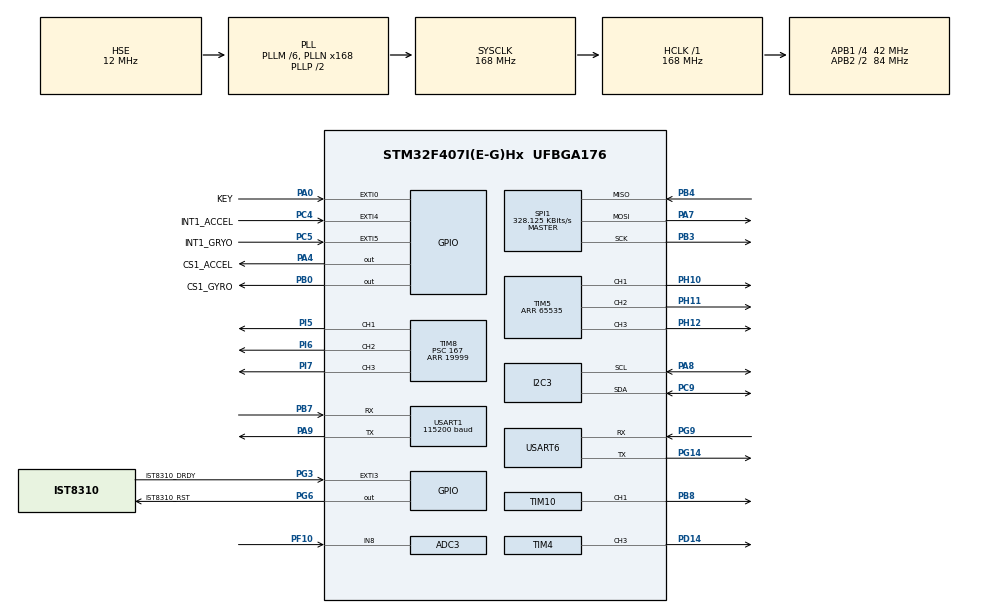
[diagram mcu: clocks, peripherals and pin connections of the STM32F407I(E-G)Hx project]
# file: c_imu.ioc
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ADC1.Channel-0\#ChannelRegularConversion=ADC_CHANNEL_VREFINT
ADC1.NbrOfConversionFlag=1
ADC1.Rank-0\#ChannelRegularConversion=1
ADC1.SamplingTime-0\#ChannelRegularConversion=ADC_SAMPLETIME_3CYCLES
ADC1.master=1
ADC3.Channel-0\#ChannelRegularConversion=ADC_CHANNEL_8
ADC3.NbrOfConversionFlag=1
ADC3.Rank-0\#ChannelRegularConversion=1
ADC3.SamplingTime-0\#ChannelRegularConversion=ADC_SAMPLETIME_3CYCLES
Dma.Request0=USART1_TX
Dma.Request1=USART1_RX
Dma.Request2=SPI1_RX
Dma.Request3=SPI1_TX
Dma.SPI1_RX.2.Direction=DMA_PERIPH_TO_MEMORY
Dma.SPI1_RX.2.FIFOMode=DMA_FIFOMODE_DISABLE
Dma.SPI1_RX.2.Instance=DMA2_Stream2
Dma.SPI1_RX.2.MemDataAlignment=DMA_MDATAALIGN_BYTE
Dma.SPI1_RX.2.MemInc=DMA_MINC_ENABLE
Dma.SPI1_RX.2.Mode=DMA_NORMAL
Dma.SPI1_RX.2.PeriphDataAlignment=DMA_PDATAALIGN_BYTE
Dma.SPI1_RX.2.PeriphInc=DMA_PINC_DISABLE
Dma.SPI1_RX.2.Priority=DMA_PRIORITY_VERY_HIGH
Dma.SPI1_TX.3.Direction=DMA_MEMORY_TO_PERIPH
Dma.SPI1_TX.3.FIFOMode=DMA_FIFOMODE_DISABLE
Dma.SPI1_TX.3.Instance=DMA2_Stream3
Dma.SPI1_TX.3.MemDataAlignment=DMA_MDATAALIGN_BYTE
Dma.SPI1_TX.3.MemInc=DMA_MINC_ENABLE
Dma.SPI1_TX.3.Mode=DMA_NORMAL
Dma.SPI1_TX.3.PeriphDataAlignment=DMA_PDATAALIGN_BYTE
Dma.SPI1_TX.3.PeriphInc=DMA_PINC_DISABLE
Dma.SPI1_TX.3.Priority=DMA_PRIORITY_HIGH
Dma.USART1_RX.1.Direction=DMA_PERIPH_TO_MEMORY
Dma.USART1_RX.1.FIFOMode=DMA_FIFOMODE_DISABLE
Dma.USART1_RX.1.Instance=DMA2_Stream5
Dma.USART1_RX.1.MemDataAlignment=DMA_MDATAALIGN_BYTE
Dma.USART1_RX.1.MemInc=DMA_MINC_ENABLE
Dma.USART1_RX.1.Mode=DMA_NORMAL
Dma.USART1_RX.1.PeriphDataAlignment=DMA_PDATAALIGN_BYTE
Dma.USART1_RX.1.PeriphInc=DMA_PINC_DISABLE
Dma.USART1_RX.1.Priority=DMA_PRIORITY_VERY_HIGH
Dma.USART1_TX.0.Direction=DMA_MEMORY_TO_PERIPH
Dma.USART1_TX.0.FIFOMode=DMA_FIFOMODE_DISABLE
Dma.USART1_TX.0.Instance=DMA2_Stream7
Dma.USART1_TX.0.MemDataAlignment=DMA_MDATAALIGN_BYTE
Dma.USART1_TX.0.MemInc=DMA_MINC_ENABLE
Dma.USART1_TX.0.Mode=DMA_NORMAL
Dma.USART1_TX.0.PeriphDataAlignment=DMA_PDATAALIGN_BYTE
Dma.USART1_TX.0.PeriphInc=DMA_PINC_DISABLE
Dma.USART1_TX.0.Priority=DMA_PRIORITY_VERY_HIGH
I2C3.I2C_Mode=I2C_Fast
Mcu.Family=STM32F4
Mcu.Name=STM32F407I(E-G)Hx
Mcu.Package=UFBGA176
NVIC.DMA2_Stream2_IRQn=true\:0\:0\:false\:false\:true\:false\:true
NVIC.DMA2_Stream3_IRQn=true\:0\:0\:false\:false\:true\:false\:true
NVIC.DMA2_Stream5_IRQn=true\:0\:0\:false\:false\:true\:false\:true
NVIC.DMA2_Stream7_IRQn=true\:0\:0\:false\:false\:true\:false\:true
NVIC.EXTI0_IRQn=true\:0\:0\:false\:false\:true\:true\:true
NVIC.EXTI3_IRQn=true\:0\:0\:false\:false\:true\:true\:true
NVIC.EXTI4_IRQn=true\:0\:0\:false\:false\:true\:true\:true
NVIC.EXTI9_5_IRQn=true\:0\:0\:false\:false\:true\:true\:true
NVIC.PriorityGroup=NVIC_PRIORITYGROUP_4
NVIC.TIM1_UP_TIM10_IRQn=true\:0\:0\:false\:false\:true\:true\:true
NVIC.USART1_IRQn=true\:0\:0\:false\:false\:true\:true\:true
NVIC.USART6_IRQn=true\:0\:0\:false\:false\:true\:true\:true
PA0-WKUP.GPIO_Label=KEY
PA0-WKUP.GPIO_ModeDefaultEXTI=GPIO_MODE_IT_RISING_FALLING
PA0-WKUP.GPIO_PuPd=GPIO_PULLUP
PA0-WKUP.Signal=GPXTI0
PA13.Mode=Serial_Wire
PA13.Signal=SYS_JTMS-SWDIO
PA14.Mode=Serial_Wire
PA14.Signal=SYS_JTCK-SWCLK
PA4.GPIO_Label=CS1_ACCEL
PA4.GPIO_PuPd=GPIO_PULLUP
PA4.GPIO_Speed=GPIO_SPEED_FREQ_HIGH
PA4.PinState=GPIO_PIN_SET
PA4.Signal=GPIO_Output
PA7.Mode=Full_Duplex_Master
PA7.Signal=SPI1_MOSI
PA8.Mode=I2C
PA8.Signal=I2C3_SCL
PA9.Mode=Asynchronous
PA9.Signal=USART1_TX
PB0.GPIO_Label=CS1_GYRO
PB0.GPIO_PuPd=GPIO_PULLUP
PB0.GPIO_Speed=GPIO_SPEED_FREQ_HIGH
PB0.PinState=GPIO_PIN_SET
PB0.Signal=GPIO_Output
PB3.Mode=Full_Duplex_Master
PB3.Signal=SPI1_SCK
PB4.Mode=Full_Duplex_Master
PB4.Signal=SPI1_MISO
PB7.Mode=Asynchronous
PB7.Signal=USART1_RX
PB8.Signal=S_TIM10_CH1
PC4.GPIO_Label=INT1_ACCEL
PC4.GPIO_ModeDefaultEXTI=GPIO_MODE_IT_FALLING
PC4.GPIO_PuPd=GPIO_PULLUP
PC4.Signal=GPXTI4
PC5.GPIO_Label=INT1_GRYO
PC5.GPIO_ModeDefaultEXTI=GPIO_MODE_IT_FALLING
PC5.GPIO_PuPd=GPIO_PULLUP
PC5.Signal=GPXTI5
PC9.Mode=I2C
PC9.Signal=I2C3_SDA
PD14.Signal=S_TIM4_CH3
PF10.Mode=IN8
PF10.Signal=ADC3_IN8
PG14.Mode=Asynchronous
PG14.Signal=USART6_TX
PG3.GPIO_Label=IST8310_DRDY
PG3.GPIO_ModeDefaultEXTI=GPIO_MODE_IT_FALLING
PG3.GPIO_PuPd=GPIO_PULLUP
PG3.Signal=GPXTI3
PG6.GPIO_Label=IST8310_RST
PG6.GPIO_PuPd=GPIO_PULLUP
PG6.GPIO_Speed=GPIO_SPEED_FREQ_MEDIUM
PG6.PinState=GPIO_PIN_SET
PG6.Signal=GPIO_Output
PG9.Mode=Asynchronous
PG9.Signal=USART6_RX
PH0-OSC_IN.Mode=HSE-External-Oscillator
PH0-OSC_IN.Signal=RCC_OSC_IN
PH1-OSC_OUT.Mode=HSE-External-Oscillator
PH1-OSC_OUT.Signal=RCC_OSC_OUT
PH10.Signal=S_TIM5_CH1
PH11.Signal=S_TIM5_CH2
PH12.Signal=S_TIM5_CH3
PI5.Signal=S_TIM8_CH1
PI6.Signal=S_TIM8_CH2
PI7.Signal=S_TIM8_CH3
ProjectManager.HeapSize=0x200
ProjectManager.StackSize=0x400
ProjectManager.TargetToolchain=MDK-ARM V5
RCC.48MHZClocksFreq_Value=84000000
RCC.AHBFreq_Value=168000000
RCC.APB1CLKDivider=RCC_HCLK_DIV4
RCC.APB1Freq_Value=42000000
RCC.APB1TimFreq_Value=84000000
RCC.APB2CLKDivider=RCC_HCLK_DIV2
RCC.APB2Freq_Value=84000000
RCC.APB2TimFreq_Value=168000000
RCC.CortexFreq_Value=168000000
RCC.HCLKFreq_Value=168000000
RCC.HSE_VALUE=12000000
RCC.HSI_VALUE=16000000
RCC.LSE_VALUE=32768
RCC.PLLM=6
RCC.PLLN=168
RCC.PLLSourceVirtual=RCC_PLLSOURCE_HSE
RCC.SYSCLKFreq_VALUE=168000000
RCC.SYSCLKSource=RCC_SYSCLKSOURCE_PLLCLK
RCC.VCOOutputFreq_Value=336000000
SH.S_TIM10_CH1.0=TIM10_CH1,PWM Generation1 CH1
SH.S_TIM4_CH3.0=TIM4_CH3,PWM Generation3 CH3
SH.S_TIM5_CH1.0=TIM5_CH1,PWM Generation1 CH1
SH.S_TIM5_CH2.0=TIM5_CH2,PWM Generation2 CH2
SH.S_TIM5_CH3.0=TIM5_CH3,PWM Generation3 CH3
SH.S_TIM8_CH1.0=TIM8_CH1,PWM Generation1 CH1
SH.S_TIM8_CH2.0=TIM8_CH2,PWM Generation2 CH2
SH.S_TIM8_CH3.0=TIM8_CH3,PWM Generation3 CH3
SPI1.BaudRatePrescaler=SPI_BAUDRATEPRESCALER_256
SPI1.CLKPhase=SPI_PHASE_2EDGE
SPI1.CLKPolarity=SPI_POLARITY_HIGH
SPI1.CalculateBaudRate=328.125 KBits/s
SPI1.Direction=SPI_DIRECTION_2LINES
SPI1.Mode=SPI_MODE_MASTER
SPI1.VirtualType=VM_MASTER
TIM1.Period=99
TIM1.Prescaler=1679
TIM1.RepetitionCounter=0
TIM10.Channel=TIM_CHANNEL_1
TIM10.Period=4999
TIM4.Channel-PWM\ Generation3\ CH3=TIM_CHANNEL_3
TIM4.Period=20999
TIM5.Channel-PWM\ Generation1\ CH1=TIM_CHANNEL_1
TIM5.Channel-PWM\ Generation2\ CH2=TIM_CHANNEL_2
TIM5.Channel-PWM\ Generation3\ CH3=TIM_CHANNEL_3
TIM5.Period=65535
TIM8.Channel-PWM\ Generation1\ CH1=TIM_CHANNEL_1
TIM8.Channel-PWM\ Generation2\ CH2=TIM_CHANNEL_2
TIM8.Channel-PWM\ Generation3\ CH3=TIM_CHANNEL_3
TIM8.Period=19999
TIM8.Prescaler=167
TIM8.Pulse-PWM\ Generation1\ CH1=2000
TIM8.Pulse-PWM\ Generation2\ CH2=2000
TIM8.Pulse-PWM\ Generation3\ CH3=2000
USART1.BaudRate=115200
USART1.VirtualMode=VM_ASYNC
USART6.VirtualMode=VM_ASYNC
VP_ADC1_TempSens_Input.Mode=IN-TempSens
VP_ADC1_Vref_Input.Mode=IN-Vrefint
VP_TIM10_VS_ClockSourceINT.Mode=Enable_Timer
VP_TIM1_VS_ClockSourceINT.Mode=Internal
VP_TIM4_VS_ClockSourceINT.Mode=Internal
VP_TIM5_VS_ClockSourceINT.Mode=Internal
VP_TIM8_VS_ClockSourceINT.Mode=Internal
board=custom

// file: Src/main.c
/* USER CODE BEGIN Header */
/**
  ******************************************************************************
  * @file           : main.c
  * @brief          : Main program body
  ******************************************************************************
  * @attention
  *
  * <h2><center>&copy; Copyright (c) 2023 STMicroelectronics.
  * All rights reserved.</center></h2>
  *
  * This software component is licensed by ST under BSD 3-Clause license,
  * the "License"; You may not use this file except in compliance with the
  * License. You may obtain a copy of the License at:
  *                        opensource.org/licenses/BSD-3-Clause
  *
  ******************************************************************************
  */
/* USER CODE END Header */
#include "main.h"
#include "adc.h"
#include "dma.h"
#include "i2c.h"
#include "spi.h"
#include "tim.h"
#include "usart.h"
#include "gpio.h"

/* USER CODE BEGIN Includes */
#include <stdio.h>
#include <string.h>

#include "base/bsp/bsp_led.h"
#include "base/bsp/bsp_adc.h"

#include "base/imu/driver/ist8310driver.h"
#include "base/imu/driver/BMI088driver.h"
/* USER CODE END Includes */

void SystemClock_Config(void);

/* USER CODE BEGIN 0 */
BoardLed led;
Board_Monitor board_monitor;

fp32 mag[3];
fp32 gyro[3], accel[3], temp;

long time = 0;
long mag_cnt = 0;
float mag_freq = 0;
long accel_int_cnt = 0;
float accel_int_freq = 0;
long gyro_int_cnt = 0;
float gyro_int_freq = 0;

uint8_t sumcheck(uint8_t* buf, uint8_t len);
struct sensor_data_t {
  float x;
  float y;
  float z;
}__attribute__((packed));

struct imu_raw_t{
  uint8_t sign;
  sensor_data_t acc;
  sensor_data_t gyro;
  //float temp;
  uint8_t check;
}__attribute__((packed));

imu_raw_t txdata;
size_t data_size = sizeof(txdata);

uint8_t tx_freq_cnt = 0;
float tx_freq = 0.f;
float lt = 0;
float nt = 0;
float dt;
float avg_dt = 0;
void HAL_GPIO_EXTI_Callback(uint16_t GPIO_Pin)
{
    if(GPIO_Pin == IST8310_DRDY_Pin)
    {
      mag_cnt++;

			static long ltm = 0;
			long ntm = time;
			if (ntm - ltm >= 1000) {
				mag_freq = (float) mag_cnt / (ntm - ltm) * 1000.0f;
				mag_cnt = 0;
				ltm = ntm;
			}
      ist8310_read_mag(mag);
    }

    if (GPIO_Pin == INT1_GRYO_Pin) {
      static long ltg = 0;
      long ntg = time;

      gyro_int_cnt++;

      if (ntg - ltg >= 1000) {
        gyro_int_freq = (float)gyro_int_cnt / (float)(ntg - ltg) * 1000.f;
        gyro_int_cnt = 0;
        ltg = ntg;
      }
    }

    if (GPIO_Pin == INT1_ACCEL_Pin) {
      static long lta = 0;
      long nta = time;

      accel_int_cnt++;

      if (nta - lta >= 1000) {
        accel_int_freq = (float)accel_int_cnt / (float)(nta - lta) * 1000.f;
        accel_int_cnt = 0;
        lta = nta;
      }
			BMI088_read(gyro, accel, &temp);
			memcpy(&txdata.acc, accel, 12);
			memcpy(&txdata.gyro, gyro, 12);
			//txdata.temp = temp;
			static int tx_cnt = 0;
			tx_cnt++;
			if (tx_cnt % 2 == 0) {
				txdata.check = sumcheck((uint8_t*)&txdata, sizeof(txdata) - 2);
				HAL_UART_Transmit_DMA(&huart1, (uint8_t*) &txdata, sizeof(txdata));
				tx_cnt = 0;
				tx_freq_cnt ++;
				nt = time;
				dt += nt - lt;
				lt = nt;
			}
		}

}
uint8_t init_bmi088 = 0;

/* USER CODE END 0 */

int main(void)
{

  /* MCU Configuration--------------------------------------------------------*/

  /* Reset of all peripherals, Initializes the Flash interface and the Systick. */
  HAL_Init();

  /* Configure the system clock */
  SystemClock_Config();

  /* Initialize all configured peripherals */
  MX_GPIO_Init();
  MX_DMA_Init();
  MX_TIM1_Init();
  MX_TIM4_Init();
  MX_TIM8_Init();
  MX_ADC1_Init();
  MX_ADC3_Init();
  MX_TIM5_Init();
  MX_USART1_UART_Init();
  MX_USART6_UART_Init();
  MX_I2C3_Init();
  MX_SPI1_Init();
  MX_TIM10_Init();
  /* USER CODE BEGIN 2 */
	HAL_TIM_Base_Start_IT(&htim1);
  HAL_TIM_Base_Start(&htim4);
  HAL_TIM_Base_Start(&htim5);
  HAL_TIM_Base_Start(&htim8);

  HAL_TIM_PWM_Start(&htim4, TIM_CHANNEL_1);

  HAL_TIM_PWM_Start(&htim8, TIM_CHANNEL_1);
  HAL_TIM_PWM_Start(&htim8, TIM_CHANNEL_2);
  HAL_TIM_PWM_Start(&htim8, TIM_CHANNEL_3);

		//__HAL_UART_ENABLE_IT(&huart1, UART_IT_RXNE);  //receive interrupt

    //__HAL_UART_ENABLE_IT(&huart1, UART_IT_TC);  //idle interrupt
    __HAL_UART_ENABLE_IT(&huart1, UART_IT_IDLE);  //idle interrupt
    //__HAL_UART_ENABLE_IT(&huart6, UART_IT_RXNE);  //receive interrupt
    __HAL_UART_ENABLE_IT(&huart6, UART_IT_IDLE);  //idle interrupt

	txdata.sign = 0X23;
  led.init();
	led.setColor(0xFF, 0xFF, 0xff);

	led.setColor(0x00, 0x00, 0xff);
  led.setModeBreath(1000);

  ist8310_init();
	board_monitor.init_vrefint_reciprocal();
	HAL_Delay(1000);

	while (!init_bmi088) {
		init_bmi088 = BMI088_init();
	}

  led.setColor(0x00, 0xff, 0x00);
	led.setModeBlink(1, 100, 300);

  /* USER CODE END 2 */

  /* Infinite loop */
  /* USER CODE BEGIN WHILE */
		uint8_t data[4] = {0x73, 0x74, 0x75, 0x76};

  while (1)
  {
//				HAL_UART_Transmit(&huart1, data, 4, 100);
//        HAL_Delay(100);
//        HAL_UART_Transmit(&huart6, data, 4, 100);
//        HAL_Delay(100);

    /* USER CODE END WHILE */

  }
}

void SystemClock_Config(void)
{
  RCC_OscInitTypeDef RCC_OscInitStruct = {0};
  RCC_ClkInitTypeDef RCC_ClkInitStruct = {0};

  /** Configure the main internal regulator output voltage
  */
  __HAL_RCC_PWR_CLK_ENABLE();
  __HAL_PWR_VOLTAGESCALING_CONFIG(PWR_REGULATOR_VOLTAGE_SCALE1);
  /** Initializes the RCC Oscillators according to the specified parameters
  * in the RCC_OscInitTypeDef structure.
  */
  RCC_OscInitStruct.OscillatorType = RCC_OSCILLATORTYPE_HSE;
  RCC_OscInitStruct.HSEState = RCC_HSE_ON;
  RCC_OscInitStruct.PLL.PLLState = RCC_PLL_ON;
  RCC_OscInitStruct.PLL.PLLSource = RCC_PLLSOURCE_HSE;
  RCC_OscInitStruct.PLL.PLLM = 6;
  RCC_OscInitStruct.PLL.PLLN = 168;
  RCC_OscInitStruct.PLL.PLLP = RCC_PLLP_DIV2;
  RCC_OscInitStruct.PLL.PLLQ = 4;
  if (HAL_RCC_OscConfig(&RCC_OscInitStruct) != HAL_OK)
  {
    Error_Handler();
  }
  /** Initializes the CPU, AHB and APB buses clocks
  */
  RCC_ClkInitStruct.ClockType = RCC_CLOCKTYPE_HCLK|RCC_CLOCKTYPE_SYSCLK
                              |RCC_CLOCKTYPE_PCLK1|RCC_CLOCKTYPE_PCLK2;
  RCC_ClkInitStruct.SYSCLKSource = RCC_SYSCLKSOURCE_PLLCLK;
  RCC_ClkInitStruct.AHBCLKDivider = RCC_SYSCLK_DIV1;
  RCC_ClkInitStruct.APB1CLKDivider = RCC_HCLK_DIV4;
  RCC_ClkInitStruct.APB2CLKDivider = RCC_HCLK_DIV2;

  if (HAL_RCC_ClockConfig(&RCC_ClkInitStruct, FLASH_LATENCY_5) != HAL_OK)
  {
    Error_Handler();
  }
}

/* USER CODE BEGIN 4 */
long cnt = 0;
int ist_rdy_cnt = 0;
void HAL_TIM_PeriodElapsedCallback(TIM_HandleTypeDef* htim) {
	if (htim == &htim1) {
    time++;
		cnt ++;
		//HAL_UART_Transmit_IT(&huart1, (uint8_t*) &txdata, sizeof(txdata));
    if (cnt % 10 == 0) {
      board_monitor.sampleBatteryVoltage();
      board_monitor.sampleTemperate();
    }

		if (time % 1000 == 0) {
			tx_freq = tx_freq_cnt;
			tx_freq_cnt = 0;
			avg_dt = dt / (float)tx_freq;
			dt = 0;
		}

//		if (cnt == 10000) {
//			led.setModeBreath(1000);
//			led.setColor(0xff, 0x00, 0x00);
//		} else if (cnt == 20000) {
//			led.setColor(0x00, 0x00, 0xff);
//			led.setModeBlink(5, 50, 50);
//		}	else if (cnt < 5000) {
//			led.setColor(0xff, 0xff, 0xff);
//			led.setModeOn();
//		} else if (cnt < 10000) {
//			led.setModeOff();
//		} else if (cnt >= 30000) {
//			cnt = 0;
//		}

//		if (HAL_GPIO_ReadPin(IST8310_DRDY_GPIO_Port, IST8310_DRDY_Pin) == GPIO_PIN_RESET) {
//			ist_rdy_cnt++;
//		}

		led.handle();
	}
}

uint8_t sumcheck(uint8_t* buf, uint8_t len) {
  uint8_t i = 0;
  uint8_t sum = 0;
  for (i = 0; i < len; ++i) {
    sum += *(buf + i);
  }
  return sum;
}
/* USER CODE END 4 */

void Error_Handler(void)
{
  __disable_irq();
  while (1)
  {
  }
}

/************************ (C) COPYRIGHT STMicroelectronics *****END OF FILE****/
